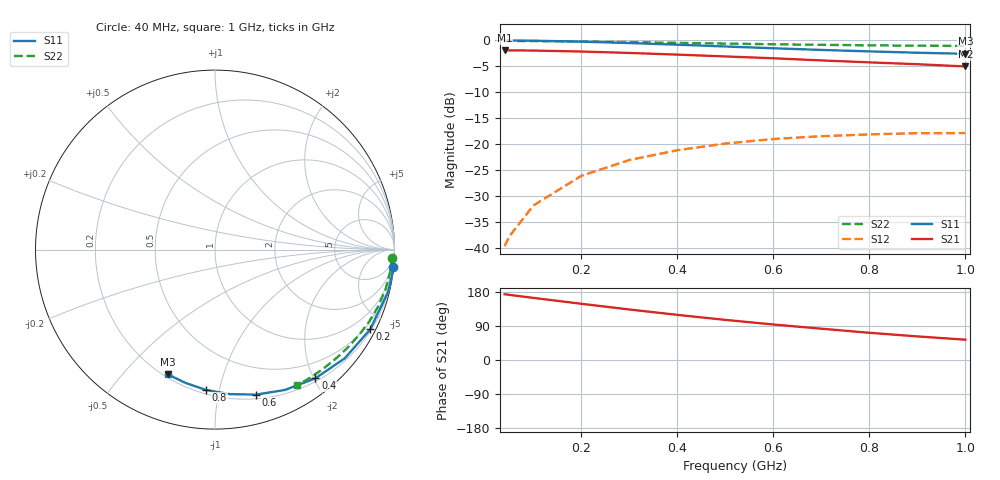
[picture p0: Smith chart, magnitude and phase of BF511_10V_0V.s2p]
! Philips part #: BF511  Date: Feb 2005
! Bias condition: VDS=10.00V; VGS=1.0E-04V; ID_MAX=20mA; VGS_START=0V;
#  MHz  S  MA  R  50
! Standard  S11  S21  S12  S22
!  Mag  Ang  Mag  Ang  Mag  Ang  Mag  Ang
! Freq  [rat]  [deg]  [rat]  [deg]  [rat]  [deg]  [rat]  [deg]
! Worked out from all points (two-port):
!   12 points, 40 MHz to 1 GHz, reference 50 ohm
!   highest |S21| = -1.91 dB at 40 MHz (marker M1); lowest = -5.0 dB at 1 GHz (marker M2)
!   |S21| within 3 dB of the highest: start of sweep to 973.6 MHz
!   lowest |S11| = -2.6 dB at 1 GHz (marker M3), VSWR 6.79, Z = 10.8 - j33.4 ohm
!   |S11| at or under -10 dB: nowhere
!   |S22| runs from -1.1 to -0.1 dB; largest |S21 - S12| = 0.8
!   S11 on the Smith chart (normalised r, x): 40 MHz: 0, -21; 200 MHz: 0.25, -4.12; 400 MHz: 0.24, -2.02; 600 MHz: 0.24, -1.30; 800 MHz: 0.23, -0.91; 1 GHz: 0.22, -0.67
40  0.9987 -5.6  0.803 173.5  0.01045 85.8  0.9878 -2.6
50  0.9983 -6.9  0.8019 171.9  0.01302 84.7  0.9875 -3.3
100  0.9928 -13.8  0.7983 163.9  0.02575 79.7  0.9847 -6.6
200  0.9723 -27.2  0.7811 148.3  0.04974 70.1  0.9756 -13.0
300  0.9432 -40.0  0.7571 133.3  0.07052 61.1  0.9624 -19.3
400  0.9094 -52.1  0.7297 119.1  0.08766 52.7  0.9471 -25.3
500  0.8739 -63.5  0.7006 105.9  0.1016 45.1  0.932 -31.1
600  0.8398 -74.2  0.6729 93.7  0.1124 38.5  0.9179 -36.8
700  0.8095 -84.1  0.6415 82.6  0.1196 32.5  0.9063 -42.3
800  0.7837 -93.6  0.6144 71.8  0.1245 26.6  0.8966 -47.8
900  0.7607 -102.5  0.5899 62.3  0.1279 21.3  0.8891 -53.3
1000  0.7431 -110.8  0.561 53.6  0.1282 16.9  0.8844 -58.7
